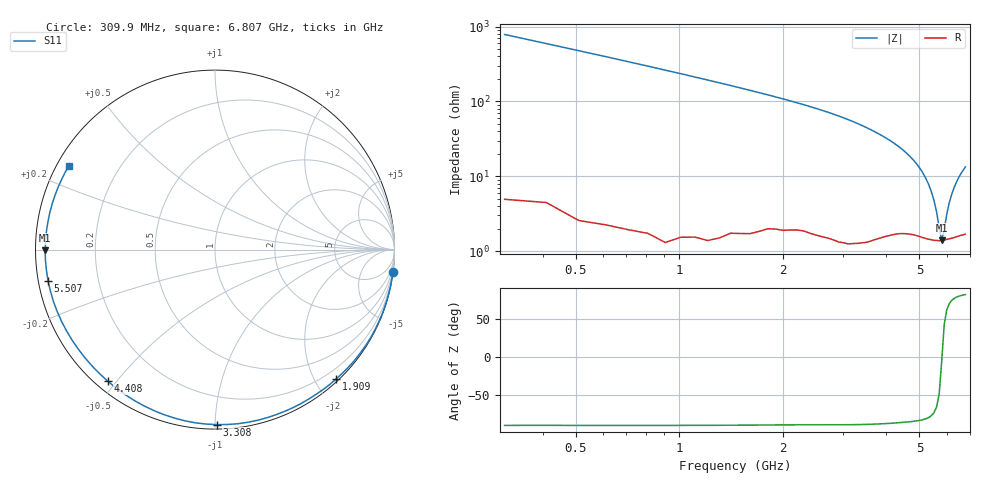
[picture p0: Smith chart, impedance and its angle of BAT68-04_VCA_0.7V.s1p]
! Infineon Technologies  Discrete & RF Semiconductors
! BAT68-04
! VCA = 0.7 V
! One-Port S-Parameters
# Hz  S  MA  R  50
!f  S11
!Hz  Mag  Ang
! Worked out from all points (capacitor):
!   66 points, 309.9 MHz to 6.807 GHz, reference 50 ohm
!   read as one part to ground: C = 650 fF near 309.9 MHz
!   lowest |Z| = 1.39 ohm at 5.807 GHz (marker M1)
!   series resonance near 5.816 GHz, so ESL is about 1.2 nH
!   S11 on the Smith chart (normalised r, x): 309.9 MHz: 0, -16; 1.909 GHz: 0.04, -2.30; 3.308 GHz: 0.03, -1.01; 4.408 GHz: 0.03, -0.48; 5.507 GHz: 0.03, -0.09; 6.807 GHz: 0.03, +0.26
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3.0985e8  0.9992 -7.3
6.097e8  0.9986 -14.3
8.096e8  0.9981 -19.1
1.2094e9  0.9966 -28.9
1.6092e9  0.9923 -39.1
1.90905e9  0.9876 -47.0
2.009e9  0.9868 -49.7
2.30885e9  0.9828 -57.9
2.50875e9  0.982 -63.7
2.8086e9  0.9803 -72.8
3.10845e9  0.9786 -82.6
3.30835e9  0.9753 -89.3
3.50825e9  0.9713 -96.4
3.6082e9  0.9686 -99.9
3.8081e9  0.9626 -107.1
4.008e9  0.9563 -114.4
4.2079e9  0.9504 -121.8
4.4078e9  0.9456 -129.1
4.6077e9  0.943 -136.5
4.8076e9  0.9422 -143.8
5.0075e9  0.9429 -151.2
5.2074e9  0.9444 -158.6
5.50725e9  0.9464 -169.4
5.8071e9  0.946 -179.7
6.007e9  0.9445 173.7
6.2069e9  0.9431 167.4
6.4068e9  0.9412 161.5
6.8066e9  0.939 150.4
